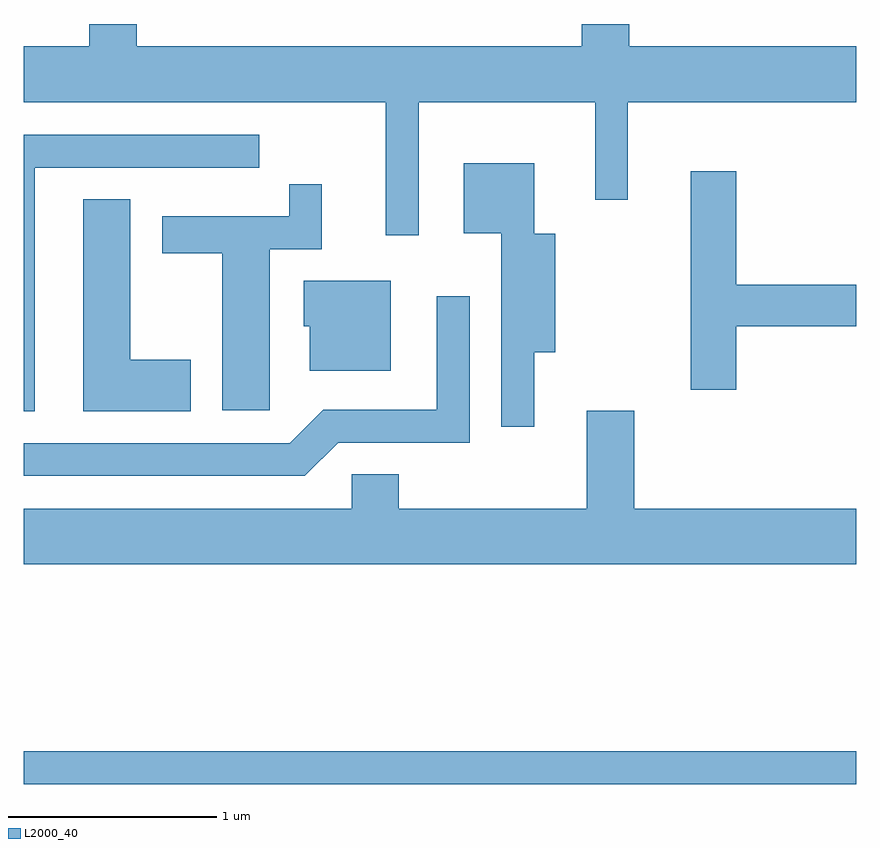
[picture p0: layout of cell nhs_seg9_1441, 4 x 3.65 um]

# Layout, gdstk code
import gdstk
lib = gdstk.Library(unit=1e-6, precision=1e-09)
def R(c, l, rs):  # rectangles x0, y0, x1, y1
    for r in rs: c.add(gdstk.rectangle(r[:2], r[2:], *l))
def P(c, l, *ps):  # polygons
    for p in ps: c.add(gdstk.Polygon(p, *l))
L2000_40 = (2000, 40)

nhs_seg9_1441 = lib.new_cell('nhs_seg9_1441')
R(nhs_seg9_1441, L2000_40, [(227.611,1970.781,231.611,1970.939)])
P(nhs_seg9_1441, L2000_40, [(230.291,1974.432),(230.291,1974.324),(228.154,1974.324),(228.154,1974.432),(227.926,1974.432),(227.926,1974.324),(227.611,1974.324),(227.611,1974.056),(229.351,1974.056),(229.351,1973.418),(229.509,1973.418),(229.509,1974.056),(230.356,1974.056),(230.356,1973.588),(230.514,1973.588),(230.514,1974.056),(231.611,1974.056),(231.611,1974.324),(230.519,1974.324),(230.519,1974.432)],
  [(227.664,1973.741),(228.743,1973.741),(228.743,1973.899),(227.611,1973.899),(227.611,1972.571),(227.664,1972.571)],
  [(230.064,1972.856),(230.164,1972.856),(230.164,1973.424),(230.064,1973.424),(230.064,1973.764),(229.726,1973.764),(229.726,1973.426),(229.906,1973.426),(229.906,1972.498),(230.064,1972.498)],
  [(231.034,1972.981),(231.611,1972.981),(231.611,1973.179),(231.034,1973.179),(231.034,1973.724),(230.816,1973.724),(230.816,1972.676),(231.034,1972.676)],
  [(228.794,1973.351),(229.044,1973.351),(229.044,1973.663),(228.886,1973.663),(228.886,1973.509),(228.276,1973.509),(228.276,1973.331),(228.566,1973.331),(228.566,1972.576),(228.794,1972.576)],
  [(228.414,1972.819),(228.124,1972.819),(228.124,1973.589),(227.896,1973.589),(227.896,1972.571),(228.414,1972.571)],
  [(229.374,1973.199),(228.956,1973.199),(228.956,1972.981),(228.986,1972.981),(228.986,1972.766),(229.374,1972.766)],
  [(229.122,1972.421),(229.754,1972.421),(229.754,1973.123),(229.596,1973.123),(229.596,1972.579),(229.049,1972.579),(228.889,1972.419),(227.611,1972.419),(227.611,1972.261),(228.962,1972.261)],
  [(231.611,1972.104),(230.544,1972.104),(230.544,1972.574),(230.316,1972.574),(230.316,1972.104),(229.414,1972.104),(229.414,1972.269),(229.186,1972.269),(229.186,1972.104),(227.611,1972.104),(227.611,1971.836),(231.611,1971.836)])

lib.write_gds('nhs_seg9_1441.gds')
